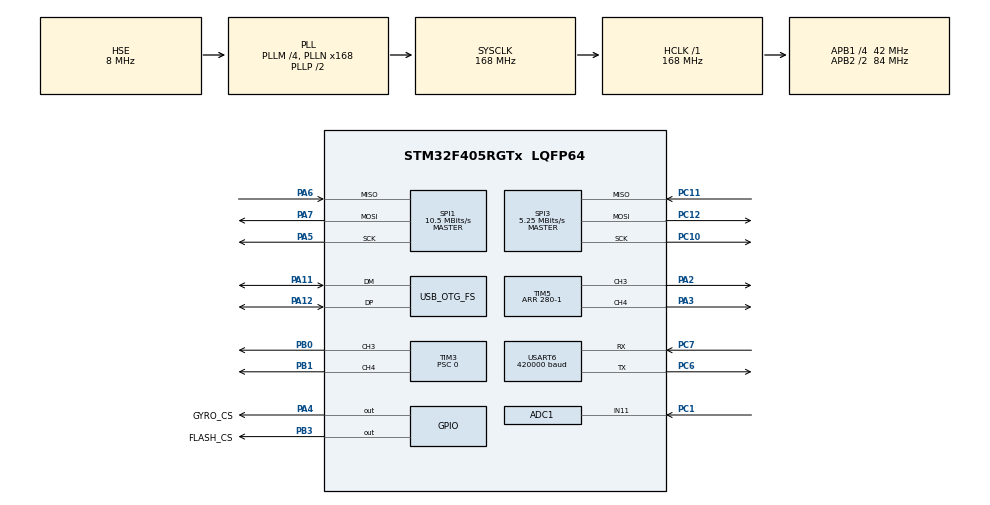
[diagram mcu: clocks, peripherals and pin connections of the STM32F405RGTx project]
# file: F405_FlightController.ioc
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ADC1.Channel-0\#ChannelRegularConversion=ADC_CHANNEL_11
ADC1.ContinuousConvMode=ENABLE
ADC1.NbrOfConversionFlag=1
ADC1.Rank-0\#ChannelRegularConversion=1
ADC1.SamplingTime-0\#ChannelRegularConversion=ADC_SAMPLETIME_3CYCLES
ADC1.master=1
Dma.ADC1.7.Direction=DMA_PERIPH_TO_MEMORY
Dma.ADC1.7.FIFOMode=DMA_FIFOMODE_DISABLE
Dma.ADC1.7.Instance=DMA2_Stream4
Dma.ADC1.7.MemDataAlignment=DMA_MDATAALIGN_HALFWORD
Dma.ADC1.7.MemInc=DMA_MINC_ENABLE
Dma.ADC1.7.Mode=DMA_NORMAL
Dma.ADC1.7.PeriphDataAlignment=DMA_PDATAALIGN_HALFWORD
Dma.ADC1.7.PeriphInc=DMA_PINC_DISABLE
Dma.ADC1.7.Priority=DMA_PRIORITY_MEDIUM
Dma.Request0=SPI1_RX
Dma.Request1=SPI1_TX
Dma.Request2=TIM5_CH3/UP
Dma.Request3=TIM5_CH4/TRIG
Dma.Request4=TIM3_CH4/UP
Dma.Request5=USART6_RX
Dma.Request6=SPI3_TX
Dma.Request7=ADC1
Dma.Request8=TIM3_CH3
Dma.SPI1_RX.0.Direction=DMA_PERIPH_TO_MEMORY
Dma.SPI1_RX.0.FIFOMode=DMA_FIFOMODE_DISABLE
Dma.SPI1_RX.0.Instance=DMA2_Stream0
Dma.SPI1_RX.0.MemDataAlignment=DMA_MDATAALIGN_BYTE
Dma.SPI1_RX.0.MemInc=DMA_MINC_ENABLE
Dma.SPI1_RX.0.Mode=DMA_NORMAL
Dma.SPI1_RX.0.PeriphDataAlignment=DMA_PDATAALIGN_BYTE
Dma.SPI1_RX.0.PeriphInc=DMA_PINC_DISABLE
Dma.SPI1_RX.0.Priority=DMA_PRIORITY_HIGH
Dma.SPI1_TX.1.Direction=DMA_MEMORY_TO_PERIPH
Dma.SPI1_TX.1.FIFOMode=DMA_FIFOMODE_DISABLE
Dma.SPI1_TX.1.Instance=DMA2_Stream3
Dma.SPI1_TX.1.MemDataAlignment=DMA_MDATAALIGN_BYTE
Dma.SPI1_TX.1.MemInc=DMA_MINC_ENABLE
Dma.SPI1_TX.1.Mode=DMA_NORMAL
Dma.SPI1_TX.1.PeriphDataAlignment=DMA_PDATAALIGN_BYTE
Dma.SPI1_TX.1.PeriphInc=DMA_PINC_DISABLE
Dma.SPI1_TX.1.Priority=DMA_PRIORITY_HIGH
Dma.SPI3_TX.6.Direction=DMA_MEMORY_TO_PERIPH
Dma.SPI3_TX.6.FIFOMode=DMA_FIFOMODE_DISABLE
Dma.SPI3_TX.6.Instance=DMA1_Stream5
Dma.SPI3_TX.6.MemDataAlignment=DMA_MDATAALIGN_BYTE
Dma.SPI3_TX.6.MemInc=DMA_MINC_ENABLE
Dma.SPI3_TX.6.Mode=DMA_NORMAL
Dma.SPI3_TX.6.PeriphDataAlignment=DMA_PDATAALIGN_BYTE
Dma.SPI3_TX.6.PeriphInc=DMA_PINC_DISABLE
Dma.SPI3_TX.6.Priority=DMA_PRIORITY_MEDIUM
Dma.TIM3_CH3.8.Direction=DMA_MEMORY_TO_PERIPH
Dma.TIM3_CH3.8.FIFOMode=DMA_FIFOMODE_ENABLE
Dma.TIM3_CH3.8.FIFOThreshold=DMA_FIFO_THRESHOLD_FULL
Dma.TIM3_CH3.8.Instance=DMA1_Stream7
Dma.TIM3_CH3.8.MemBurst=DMA_MBURST_SINGLE
Dma.TIM3_CH3.8.MemDataAlignment=DMA_MDATAALIGN_WORD
Dma.TIM3_CH3.8.MemInc=DMA_MINC_ENABLE
Dma.TIM3_CH3.8.Mode=DMA_CIRCULAR
Dma.TIM3_CH3.8.PeriphBurst=DMA_PBURST_SINGLE
Dma.TIM3_CH3.8.PeriphDataAlignment=DMA_PDATAALIGN_WORD
Dma.TIM3_CH3.8.PeriphInc=DMA_PINC_DISABLE
Dma.TIM3_CH3.8.Priority=DMA_PRIORITY_VERY_HIGH
Dma.TIM3_CH4/UP.4.Direction=DMA_MEMORY_TO_PERIPH
Dma.TIM3_CH4/UP.4.FIFOMode=DMA_FIFOMODE_ENABLE
Dma.TIM3_CH4/UP.4.FIFOThreshold=DMA_FIFO_THRESHOLD_FULL
Dma.TIM3_CH4/UP.4.Instance=DMA1_Stream2
Dma.TIM3_CH4/UP.4.MemBurst=DMA_MBURST_SINGLE
Dma.TIM3_CH4/UP.4.MemDataAlignment=DMA_MDATAALIGN_WORD
Dma.TIM3_CH4/UP.4.MemInc=DMA_MINC_ENABLE
Dma.TIM3_CH4/UP.4.Mode=DMA_CIRCULAR
Dma.TIM3_CH4/UP.4.PeriphBurst=DMA_PBURST_SINGLE
Dma.TIM3_CH4/UP.4.PeriphDataAlignment=DMA_PDATAALIGN_WORD
Dma.TIM3_CH4/UP.4.PeriphInc=DMA_PINC_DISABLE
Dma.TIM3_CH4/UP.4.Priority=DMA_PRIORITY_VERY_HIGH
Dma.TIM5_CH3/UP.2.Direction=DMA_MEMORY_TO_PERIPH
Dma.TIM5_CH3/UP.2.FIFOMode=DMA_FIFOMODE_ENABLE
Dma.TIM5_CH3/UP.2.FIFOThreshold=DMA_FIFO_THRESHOLD_FULL
Dma.TIM5_CH3/UP.2.Instance=DMA1_Stream0
Dma.TIM5_CH3/UP.2.MemBurst=DMA_MBURST_SINGLE
Dma.TIM5_CH3/UP.2.MemDataAlignment=DMA_MDATAALIGN_WORD
Dma.TIM5_CH3/UP.2.MemInc=DMA_MINC_ENABLE
Dma.TIM5_CH3/UP.2.Mode=DMA_CIRCULAR
Dma.TIM5_CH3/UP.2.PeriphBurst=DMA_PBURST_SINGLE
Dma.TIM5_CH3/UP.2.PeriphDataAlignment=DMA_PDATAALIGN_WORD
Dma.TIM5_CH3/UP.2.PeriphInc=DMA_PINC_DISABLE
Dma.TIM5_CH3/UP.2.Priority=DMA_PRIORITY_VERY_HIGH
Dma.TIM5_CH4/TRIG.3.Direction=DMA_MEMORY_TO_PERIPH
Dma.TIM5_CH4/TRIG.3.FIFOMode=DMA_FIFOMODE_ENABLE
Dma.TIM5_CH4/TRIG.3.FIFOThreshold=DMA_FIFO_THRESHOLD_FULL
Dma.TIM5_CH4/TRIG.3.Instance=DMA1_Stream1
Dma.TIM5_CH4/TRIG.3.MemBurst=DMA_MBURST_SINGLE
Dma.TIM5_CH4/TRIG.3.MemDataAlignment=DMA_MDATAALIGN_WORD
Dma.TIM5_CH4/TRIG.3.MemInc=DMA_MINC_ENABLE
Dma.TIM5_CH4/TRIG.3.Mode=DMA_CIRCULAR
Dma.TIM5_CH4/TRIG.3.PeriphBurst=DMA_PBURST_SINGLE
Dma.TIM5_CH4/TRIG.3.PeriphDataAlignment=DMA_PDATAALIGN_WORD
Dma.TIM5_CH4/TRIG.3.PeriphInc=DMA_PINC_DISABLE
Dma.TIM5_CH4/TRIG.3.Priority=DMA_PRIORITY_VERY_HIGH
Dma.USART6_RX.5.Direction=DMA_PERIPH_TO_MEMORY
Dma.USART6_RX.5.FIFOMode=DMA_FIFOMODE_DISABLE
Dma.USART6_RX.5.Instance=DMA2_Stream1
Dma.USART6_RX.5.MemDataAlignment=DMA_MDATAALIGN_BYTE
Dma.USART6_RX.5.MemInc=DMA_MINC_ENABLE
Dma.USART6_RX.5.Mode=DMA_CIRCULAR
Dma.USART6_RX.5.PeriphDataAlignment=DMA_PDATAALIGN_BYTE
Dma.USART6_RX.5.PeriphInc=DMA_PINC_DISABLE
Dma.USART6_RX.5.Priority=DMA_PRIORITY_VERY_HIGH
Mcu.Family=STM32F4
Mcu.Name=STM32F405RGTx
Mcu.Package=LQFP64
NVIC.ADC_IRQn=true\:0\:0\:false\:false\:true\:true\:true\:true
NVIC.DMA1_Stream0_IRQn=true\:6\:0\:true\:false\:true\:false\:true\:true
NVIC.DMA1_Stream1_IRQn=true\:6\:0\:true\:false\:true\:false\:true\:true
NVIC.DMA1_Stream2_IRQn=true\:6\:0\:true\:false\:true\:false\:true\:true
NVIC.DMA1_Stream5_IRQn=true\:0\:0\:true\:false\:true\:false\:true\:true
NVIC.DMA1_Stream7_IRQn=true\:6\:0\:true\:false\:true\:false\:true\:true
NVIC.DMA2_Stream0_IRQn=true\:6\:0\:true\:false\:true\:false\:true\:true
NVIC.DMA2_Stream1_IRQn=true\:0\:0\:false\:false\:true\:false\:true\:true
NVIC.DMA2_Stream3_IRQn=true\:6\:0\:true\:false\:true\:false\:true\:true
NVIC.DMA2_Stream4_IRQn=true\:0\:0\:false\:false\:true\:false\:true\:true
NVIC.OTG_FS_IRQn=true\:0\:0\:false\:false\:true\:false\:true\:true
NVIC.PriorityGroup=NVIC_PRIORITYGROUP_4
NVIC.SPI1_IRQn=true\:6\:0\:true\:false\:true\:true\:true\:true
NVIC.SPI3_IRQn=true\:8\:0\:true\:false\:true\:true\:true\:true
NVIC.TIM2_IRQn=true\:10\:0\:true\:false\:true\:true\:true\:true
NVIC.TIM4_IRQn=true\:0\:0\:true\:false\:true\:true\:true\:true
NVIC.USART6_IRQn=true\:5\:0\:true\:false\:true\:true\:true\:true
PA11.Mode=Device_Only
PA11.Signal=USB_OTG_FS_DM
PA12.Mode=Device_Only
PA12.Signal=USB_OTG_FS_DP
PA2.Signal=S_TIM5_CH3
PA3.Signal=S_TIM5_CH4
PA4.GPIO_Label=GYRO_CS
PA4.GPIO_Speed=GPIO_SPEED_FREQ_HIGH
PA4.PinState=GPIO_PIN_SET
PA4.Signal=GPIO_Output
PA5.Mode=Full_Duplex_Master
PA5.Signal=SPI1_SCK
PA6.Mode=Full_Duplex_Master
PA6.Signal=SPI1_MISO
PA7.Mode=Full_Duplex_Master
PA7.Signal=SPI1_MOSI
PB0.Signal=S_TIM3_CH3
PB1.Signal=S_TIM3_CH4
PB3.GPIO_Label=FLASH_CS
PB3.GPIO_Speed=GPIO_SPEED_FREQ_HIGH
PB3.PinState=GPIO_PIN_SET
PB3.Signal=GPIO_Output
PC1.Signal=ADCx_IN11
PC10.Mode=Full_Duplex_Master
PC10.Signal=SPI3_SCK
PC11.Mode=Full_Duplex_Master
PC11.Signal=SPI3_MISO
PC12.Mode=Full_Duplex_Master
PC12.Signal=SPI3_MOSI
PC6.Mode=Asynchronous
PC6.Signal=USART6_TX
PC7.Mode=Asynchronous
PC7.Signal=USART6_RX
PH0-OSC_IN.Mode=HSE-External-Oscillator
PH0-OSC_IN.Signal=RCC_OSC_IN
PH1-OSC_OUT.Mode=HSE-External-Oscillator
PH1-OSC_OUT.Signal=RCC_OSC_OUT
ProjectManager.HeapSize=0x200
ProjectManager.StackSize=0x400
ProjectManager.TargetToolchain=STM32CubeIDE
RCC.48MHZClocksFreq_Value=48000000
RCC.AHBFreq_Value=168000000
RCC.APB1CLKDivider=RCC_HCLK_DIV4
RCC.APB1Freq_Value=42000000
RCC.APB1TimFreq_Value=84000000
RCC.APB2CLKDivider=RCC_HCLK_DIV2
RCC.APB2Freq_Value=84000000
RCC.APB2TimFreq_Value=168000000
RCC.CortexFreq_Value=168000000
RCC.HCLKFreq_Value=168000000
RCC.HSE_VALUE=8000000
RCC.HSI_VALUE=16000000
RCC.LSE_VALUE=32768
RCC.PLLM=4
RCC.PLLN=168
RCC.PLLQ=7
RCC.SYSCLKFreq_VALUE=168000000
RCC.SYSCLKSource=RCC_SYSCLKSOURCE_PLLCLK
RCC.VCOOutputFreq_Value=336000000
SH.ADCx_IN11.0=ADC1_IN11,IN11
SH.S_TIM3_CH3.0=TIM3_CH3,PWM Generation3 CH3
SH.S_TIM3_CH4.0=TIM3_CH4,PWM Generation4 CH4
SH.S_TIM5_CH3.0=TIM5_CH3,PWM Generation3 CH3
SH.S_TIM5_CH4.0=TIM5_CH4,PWM Generation4 CH4
SPI1.BaudRatePrescaler=SPI_BAUDRATEPRESCALER_8
SPI1.CalculateBaudRate=10.5 MBits/s
SPI1.Direction=SPI_DIRECTION_2LINES
SPI1.Mode=SPI_MODE_MASTER
SPI1.VirtualType=VM_MASTER
SPI3.BaudRatePrescaler=SPI_BAUDRATEPRESCALER_8
SPI3.CalculateBaudRate=5.25 MBits/s
SPI3.Direction=SPI_DIRECTION_2LINES
SPI3.Mode=SPI_MODE_MASTER
SPI3.VirtualType=VM_MASTER
TIM2.Period=1000-1
TIM2.Prescaler=84-1
TIM3.Channel-PWM\ Generation3\ CH3=TIM_CHANNEL_3
TIM3.Channel-PWM\ Generation4\ CH4=TIM_CHANNEL_4
TIM3.OCFastMode_PWM-PWM\ Generation3\ CH3=TIM_OCFAST_ENABLE
TIM3.OCFastMode_PWM-PWM\ Generation4\ CH4=TIM_OCFAST_ENABLE
TIM3.Period=279
TIM3.Prescaler=0
TIM3.Pulse-PWM\ Generation3\ CH3=105
TIM3.Pulse-PWM\ Generation4\ CH4=105
TIM4.Period=0xFFFF
TIM4.Prescaler=83
TIM5.Channel-PWM\ Generation3\ CH3=TIM_CHANNEL_3
TIM5.Channel-PWM\ Generation4\ CH4=TIM_CHANNEL_4
TIM5.OCFastMode_PWM-PWM\ Generation3\ CH3=TIM_OCFAST_ENABLE
TIM5.OCFastMode_PWM-PWM\ Generation4\ CH4=TIM_OCFAST_ENABLE
TIM5.Period=280-1
TIM5.Pulse-PWM\ Generation3\ CH3=105
TIM5.Pulse-PWM\ Generation4\ CH4=105
USART6.BaudRate=420000
USART6.OverSampling=UART_OVERSAMPLING_8
USART6.VirtualMode=VM_ASYNC
USB_DEVICE.CLASS_NAME_FS=CDC
USB_DEVICE.VirtualMode-CDC_FS=Cdc
USB_DEVICE.VirtualModeFS=Cdc_FS
USB_OTG_FS.VirtualMode=Device_Only
VP_TIM2_VS_ClockSourceINT.Mode=Internal
VP_TIM3_VS_ClockSourceINT.Mode=Internal
VP_TIM4_VS_ClockSourceINT.Mode=Internal
VP_TIM5_VS_ClockSourceINT.Mode=Internal
VP_USB_DEVICE_VS_USB_DEVICE_CDC_FS.Mode=CDC_FS
board=custom

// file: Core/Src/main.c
/* USER CODE BEGIN Header */
/**
  ******************************************************************************
  * @file           : main.c
  * @brief          : Main program body
  ******************************************************************************
  * @attention
  *
  * Copyright (c) 2025 STMicroelectronics.
  * All rights reserved.
  *
  * This software is licensed under terms that can be found in the LICENSE file
  * in the root directory of this software component.
  * If no LICENSE file comes with this software, it is provided AS-IS.
  *
  ******************************************************************************
  */
/* USER CODE END Header */
#include "main.h"
#include "adc.h"
#include "dma.h"
#include "spi.h"
#include "tim.h"
#include "usart.h"
#include "usb_device.h"
#include "gpio.h"

/* USER CODE BEGIN Includes */
#include "mpu6000.h"
#include "filter.h"
#include "pid.h"
#include "dshot.h"
#include "CRsF.h"
#include <string.h>
#include <math.h>
#include "stm32f4xx.h"
#include <stdbool.h>
#include <timer_logging.h>
#include "usbd_cdc_if.h"
#include "w25q256.h"
#include "blackbox.h"
#include "timer_logging.h"
#include "ekf.h"

/* USER CODE END Includes */

/* USER CODE BEGIN PD */
#define EKF_MODE 	0
#define COMP_MODE	1
#define SENSOR_FUSION_MODE	EKF_MODE

#define PID_KP_PITCH_INNER		1.2f
#define PID_KD_PITCH_INNER		0.4f
#define PID_KI_PITCH_INNER		1.0f

#define PID_KP_PITCH_OUTER		3.0f
#define PID_KD_PITCH_OUTER		1.0f
#define PID_KI_PITCH_OUTER		0.8f

#define PID_KP_ROLL_INNER		1.2f
#define PID_KD_ROLL_INNER		0.4f
#define PID_KI_ROLL_INNER		1.0f

#define PID_KP_ROLL_OUTER		2.0f
#define PID_KD_ROLL_OUTER		1.0f
#define PID_KI_ROLL_OUTER		0.8f

#define PID_KP_YAW				3.0f
#define PID_KD_YAW				0.0f
#define PID_KI_YAW				0.0f

#define PID_KP_YAW_RATE			3.0f
#define PID_KD_YAW_RATE			0.0f
#define PID_KI_YAW_RATE			0.0f
/* USER CODE END PD */

/* USER CODE BEGIN PV */
extern UART_HandleTypeDef huart6;
extern DMA_HandleTypeDef hdma_usart6_rx;

float dt = 0.001f;
float dt_ekf;
float acc_x = 0.0f;
float acc_y = 0.0f;
float acc_z = 0.0f;
float gyro_p = 0.0f;
float gyro_q = 0.0f;
float gyro_r = 0.0f;

float gyro_p_ekf = 0.0f;
float gyro_q_ekf = 0.0f;
float gyro_r_ekf = 0.0f;

float pitch_target = 0.0f;
float roll_target = 0.0f;
float yaw_target = 0.0f;

float pitch,roll,yaw,yawHat_acc_rad;
float roll_rad, pitch_rad, yaw_rad;
float roll_rad_ekf;
float pitch_rad_ekf;
float pitch_ekf;
float roll_ekf;

Double_PID_Controller PID_Controller_Roll, PID_Controller_Pitch;
PID_Controller PID_Controller_Yaw, PID_Controller_Yaw_Rate;
uint16_t throttle = 1000;

MPU6000 mpu;
float rollHat_acc_rad;
float pitchHat_acc_rad;
IIR_Filter_3D acc_filtered;
IIR_Filter_3D gyro_filtered_ekf;
IIR_Filter_3D gyro_filtered_comp;
uint32_t DShot_MemoryBufferMotor1[MEM_BUFFER_LENGTH] = {0};
uint32_t DShot_DMABufferMotor1[DMA_BUFFER_LENGTH] = {0};
uint32_t DShot_MemoryBufferMotor2[MEM_BUFFER_LENGTH] = {0};
uint32_t DShot_DMABufferMotor2[DMA_BUFFER_LENGTH] = {0};
uint32_t DShot_MemoryBufferMotor3[MEM_BUFFER_LENGTH] = {0};
uint32_t DShot_DMABufferMotor3[DMA_BUFFER_LENGTH] = {0};
uint32_t DShot_MemoryBufferMotor4[MEM_BUFFER_LENGTH] = {0};
uint32_t DShot_DMABufferMotor4[DMA_BUFFER_LENGTH] = {0};

float roll_out;
float pitch_out;
float yaw_out;

float m1 = 0;
float m2 = 0;
float m3 = 0;
float m4 = 0;

uint8_t uart_rx_buffer[64];
CrsF_Frame receive_frame;
volatile bool uart_ready = false;

float ScaledControllerOutput[5];
#define CRSF_DMA_BUF_SIZE 128
uint8_t crsf_dma_buf[CRSF_DMA_BUF_SIZE];
uint16_t old_pos = 0;

float  yaw_heading_reference = 0;
uint32_t global_counter = 0;

bool PID_outer_loop_activation_flag;

volatile SystemState_t drone_system_state = SYSTEM_STATE_FLY_MODE;
/* USB communication variables */
char  USB_TX_Buffer[128];
char USB_RX_Buffer [64];

/*Flash communication variable */
uint32_t id;
uint8_t status;
volatile bool flash_write_done_flag = true;
volatile flash_packet blackbox_packet[8];
volatile uint8_t blackbox_packet_index = 0;
volatile bool blackbox_packet_ready_flag = false;
uint8_t flash_buffer_rx[256];
uint16_t page_number = 0;

/*Battery level oitoring varilables */
float battery_voltage;
uint16_t battery_voltage_raw;
bool adc_battery_done_flag = true;

/*Logging variables*/
volatile uint32_t timer_overflow = 0;
/* USER CODE END PV */

void SystemClock_Config(void);
/* USER CODE BEGIN PFP */

// Hàm call back gọi MPU mỗi 1ms
void HAL_TIM_PeriodElapsedCallback(TIM_HandleTypeDef *htim)
{
    if (htim->Instance == TIM2) {
        if (mpu.state == 0) {
            mpu.state = 1; // request new transfer
            MPU6000_Start_DMA(&mpu);
        }
        if (adc_battery_done_flag == true){
        	adc_battery_done_flag = false;
        	HAL_ADC_Start_DMA(&hadc1, (uint32_t*)&battery_voltage_raw, 1);
        }
    }
    if (htim->Instance == TIM4){
    	timer_overflow++;
    }
}

void HAL_ADC_ConvCpltCallback(ADC_HandleTypeDef* hadc)
{
    if (hadc->Instance == ADC1) {
        adc_battery_done_flag = true;

        float vref = 3.3f;
        float divider = (10.0f + 1.0f) / 1.0f; // 10k/1k
        float adc_raw = battery_voltage_raw;
        battery_voltage = (adc_raw / 4095.0f) * vref * divider * 0.99386f;
    }
}
void HAL_SPI_TxRxCpltCallback(SPI_HandleTypeDef *hspi)
{
    if (hspi->Instance == SPI1) {
        HAL_GPIO_WritePin(MPU6000_CS_PORT, MPU6000_CS_PIN, GPIO_PIN_SET);
        mpu.state = 2; // DMA finished
        mpu.spi_transfer_done = true;
    }
}
//void HAL_SPI_TxCpltCallback(SPI_HandleTypeDef *hspi)
//{
//    if (hspi->Instance == SPI3) {
//        csHigh();
//        flash_write_done_flag = true;
//    }
//}

//Hàm call back gửi DSHOT cho động cơ
void HAL_TIM_PWM_PulseFinishedHalfCpltCallback(TIM_HandleTypeDef *htim)
{
    if (htim->Instance == TIM5)
    {
        if (htim->Channel == HAL_TIM_ACTIVE_CHANNEL_3)
        {
            memcpy(DShot_DMABufferMotor2, DShot_MemoryBufferMotor2,
                   MEM_BUFFER_LENGTH * sizeof(DShot_DMABufferMotor2[0]));
        }
        else if (htim->Channel == HAL_TIM_ACTIVE_CHANNEL_4)
        {
            memcpy(DShot_DMABufferMotor3, DShot_MemoryBufferMotor3,
                   MEM_BUFFER_LENGTH * sizeof(DShot_DMABufferMotor3[0]));
        }
    }

    else if (htim->Instance == TIM3){
        if (htim->Channel == HAL_TIM_ACTIVE_CHANNEL_4)
        {
            memcpy(DShot_DMABufferMotor1, DShot_MemoryBufferMotor1,
                   MEM_BUFFER_LENGTH * sizeof(DShot_DMABufferMotor1[0]));
        }
        else if (htim->Channel == HAL_TIM_ACTIVE_CHANNEL_3)
        {
            memcpy(DShot_DMABufferMotor4, DShot_MemoryBufferMotor4,
                   MEM_BUFFER_LENGTH * sizeof(DShot_DMABufferMotor4[0]));
        }
    }
}

static inline float constrain(float value, float min_val, float max_val)
{
    if (value < min_val) return min_val;
    else if (value > max_val) return max_val;
    else return value;
}

/* USER CODE END PFP */

/* USER CODE BEGIN 0 */
float get_pitch(float Ax, float Ay, float Az) {
    return atan2f(Ay, sqrtf(Ax * Ax + Az * Az)) * 180.0f / M_PI;
}

float get_roll(float Ax, float Az) {
    return atan2f(-Ax, Az) * 180.0f / M_PI;
}

void init_PIDs(void)
{
//    PID_Init(&pid_roll,  1.5f, 0.0f, 0.05f, 400.0f, 100.0f);
//    PID_Init(&pid_pitch, 1.5f, 0.0f, 0.05f, 400.0f, 100.0f);
//    PID_Init(&pid_yaw,   2.0f, 0.0f, 0.10f, 400.0f, 100.0f);
	PID_Init(&PID_Controller_Pitch.inner_loop, PID_KP_PITCH_INNER, PID_KI_PITCH_INNER, PID_KD_PITCH_INNER, 200.0f, 100.0f);
	PID_Init(&PID_Controller_Roll.inner_loop, PID_KP_ROLL_INNER, PID_KI_ROLL_INNER, PID_KD_ROLL_INNER, 200.0f, 100.0f);
	PID_Init(&PID_Controller_Yaw, PID_KP_YAW, PID_KI_YAW, PID_KD_YAW, 400.0f, 100.0f);

	PID_Init(&PID_Controller_Pitch.outer_loop, PID_KP_PITCH_OUTER, PID_KI_PITCH_OUTER, PID_KD_PITCH_OUTER, 200.0f, 50.0f);
	PID_Init(&PID_Controller_Roll.outer_loop, PID_KP_ROLL_OUTER, PID_KI_ROLL_OUTER, PID_KD_ROLL_OUTER, 200.0f, 50.0f);
	PID_Init(&PID_Controller_Yaw_Rate, PID_KP_YAW_RATE, PID_KI_YAW_RATE, PID_KD_YAW_RATE, 200.0f, 50.0f);

}

void CRSF_IdleHandler(void) {
    uint16_t dma_remaining = __HAL_DMA_GET_COUNTER(&hdma_usart6_rx);
    uint16_t new_pos = CRSF_DMA_BUF_SIZE - dma_remaining;

    if(new_pos >= old_pos) {
        for(uint16_t i = old_pos; i < new_pos; i++) {
            if(Check_Status(crsf_dma_buf[i], &receive_frame)) {
                CRsF_Process(&receive_frame);
            }
        }
    } else {
        for(uint16_t i = old_pos; i < CRSF_DMA_BUF_SIZE; i++) {
            if(Check_Status(crsf_dma_buf[i], &receive_frame)) {
                CRsF_Process(&receive_frame);
            }
        }
        for(uint16_t i = 0; i < new_pos; i++) {
            if(Check_Status(crsf_dma_buf[i], &receive_frame)) {
                CRsF_Process(&receive_frame);
            }
        }
    }

    old_pos = new_pos;
}
float rollDot;
float pitchDot;
uint32_t t;
uint32_t t_prev;

EKF_t ekf;
/* USER CODE END 0 */

int main(void)
{

  /* MCU Configuration--------------------------------------------------------*/

  /* Reset of all peripherals, Initializes the Flash interface and the Systick. */
  HAL_Init();

  /* Configure the system clock */
  SystemClock_Config();

  /* Initialize all configured peripherals */
  MX_GPIO_Init();
  MX_DMA_Init();
  MX_SPI1_Init();
  MX_TIM2_Init();
  MX_TIM3_Init();
  MX_TIM5_Init();
  MX_USART6_UART_Init();
  MX_USB_DEVICE_Init();
  MX_SPI3_Init();
  MX_ADC1_Init();
  MX_TIM4_Init();
  /* USER CODE BEGIN 2 */
  //IIR_Filter_3D_Init(&acc_filtered, IIR_ACC_ALPHA, IIR_ACC_BETA);
  IIR_Filter_3D_Init(&gyro_filtered_comp, IIR_GYR_ALPHA, IIR_GYR_BETA);
  IIR_Filter_3D_Init(&gyro_filtered_ekf, IIR_GYR_ALPHA, IIR_GYR_BETA);

  MPU6000_Init(&mpu, &hspi1);

  mpu.state=0;
  for(int i=0;i<=14;i++) mpu.tx_buffer[i]=0xFF;
  init_PIDs();
  MPU6000_Calibrate(&mpu);

  //Fills arrays in
  Dshot_DMABuffer_init(DShot_DMABufferMotor1);
  Dshot_DMABuffer_init(DShot_DMABufferMotor2);
  Dshot_DMABuffer_init(DShot_DMABufferMotor3);
  Dshot_DMABuffer_init(DShot_DMABufferMotor4);
  Dshot_MemoryBuffer_init(DShot_MemoryBufferMotor1);
  Dshot_MemoryBuffer_init(DShot_MemoryBufferMotor2);
  Dshot_MemoryBuffer_init(DShot_MemoryBufferMotor3);
  Dshot_MemoryBuffer_init(DShot_MemoryBufferMotor4);
  Dshot_Calibrate(DShot_DMABufferMotor1);
  Dshot_Calibrate(DShot_DMABufferMotor2);
  Dshot_Calibrate(DShot_DMABufferMotor3);
  Dshot_Calibrate(DShot_DMABufferMotor4);

  //HAL_TIM_PWM_Start_DMA(&htim5, TIM_CHANNEL_1, DShot_DMABufferMotor1, DMA_BUFFER_LENGTH);
  HAL_TIM_PWM_Start_DMA(&htim5, TIM_CHANNEL_4, DShot_DMABufferMotor1, DMA_BUFFER_LENGTH);
  HAL_TIM_PWM_Start_DMA(&htim3, TIM_CHANNEL_3, DShot_DMABufferMotor2, DMA_BUFFER_LENGTH);
  HAL_TIM_PWM_Start_DMA(&htim3, TIM_CHANNEL_4, DShot_DMABufferMotor3, DMA_BUFFER_LENGTH);
  HAL_TIM_PWM_Start_DMA(&htim5, TIM_CHANNEL_3, DShot_DMABufferMotor4, DMA_BUFFER_LENGTH);

  Dshot_PrepareFrame(0, DShot_MemoryBufferMotor1);
  Dshot_PrepareFrame(0, DShot_MemoryBufferMotor2);
  Dshot_PrepareFrame(0, DShot_MemoryBufferMotor3);
  Dshot_PrepareFrame(0, DShot_MemoryBufferMotor4);

  HAL_Delay(3000);

  HAL_UART_Receive_DMA(&huart6, crsf_dma_buf, CRSF_DMA_BUF_SIZE);
  __HAL_UART_ENABLE_IT(&huart6, UART_IT_IDLE);  // enable IDLE interrupt
  HAL_TIM_Base_Start_IT(&htim2);

  HAL_GPIO_WritePin(FLASH_CS_PORT, FLASH_CS_PIN, GPIO_PIN_SET);
  HAL_ADC_Start_DMA(&hadc1, (uint32_t*)&battery_voltage_raw, 1);
//  W25Q_Reset();
//  flash_write_done_flag = false;
//
//  Blackbox_EraseAll();
//  W25Q_Read(BLACKBOX_START_ADDR, 256, flash_buffer_rx);
//  for (int i = blackbox_packet_index; i < 8; i++) {
//      blackbox_packet[i].timestamp = 0;
//      blackbox_packet[i].battery_voltage = 0;
//      blackbox_packet[i].roll_target = 0;
//      blackbox_packet[i].pitch_target = 0;
//      blackbox_packet[i].yaw_target = 0;
//      blackbox_packet[i].roll = 0;
//      blackbox_packet[i].pitch = 0;
//      blackbox_packet[i].yaw = 0;
//  }
//  id = W25Q_ReadID();
  HAL_TIM_Base_Start_IT(&htim4);
  EKF_Init(&ekf, mpu.gyro_offset[0], mpu.gyro_offset[1]);
  t_prev = micros();

  /* USER CODE END 2 */

  /* Infinite loop */
  /* USER CODE BEGIN WHILE */
  while (1)
  {
	  if (drone_system_state == SYSTEM_STATE_FLY_MODE){
		  if (ScaledControllerOutput[CH_ARM] < 1500){
			  Dshot_PrepareFrame(0, DShot_MemoryBufferMotor1);
			  Dshot_PrepareFrame(0, DShot_MemoryBufferMotor2);
			  Dshot_PrepareFrame(0, DShot_MemoryBufferMotor3);
			  Dshot_PrepareFrame(0, DShot_MemoryBufferMotor4);
			  PID_Controller_Pitch.inner_loop.error_sum = 0;
			  PID_Controller_Pitch.outer_loop.error_sum = 0;
			  PID_Controller_Roll.inner_loop.error_sum = 0;
			  PID_Controller_Roll.outer_loop.error_sum = 0;
			  PID_Controller_Yaw_Rate.error_sum = 0;
			  PID_Controller_Yaw.error_sum = 0;

		  }
		  else{
			  //0 <= m1, m2, m3, m4 <= 1999
			  Dshot_PrepareFrame(m1, DShot_MemoryBufferMotor1);
			  Dshot_PrepareFrame(m2, DShot_MemoryBufferMotor2);
			  Dshot_PrepareFrame(m3, DShot_MemoryBufferMotor3);
			  Dshot_PrepareFrame(m4, DShot_MemoryBufferMotor4);
		  }

		  if (mpu.state==2){
			  MPU6000_Process_DMA(&mpu);
			  mpu.state = 0;
			  #if SENSOR_FUSION_MODE ==  EKF_MODE
			  //EKF filter
			  // IIR_Filter_3D_Update(&acc_filtered, mpu.acc[0], mpu.acc[1], mpu.acc[2], &acc_x, &acc_y, &acc_z);
			  acc_x = mpu.acc[0];
			  acc_y = mpu.acc[1];
			  acc_z = mpu.acc[2];
			  mpu.gyro[0] += mpu.gyro_offset[0];
			  mpu.gyro[1] += mpu.gyro_offset[1];

			  IIR_Filter_3D_Update(&gyro_filtered_ekf, mpu.gyro[0], mpu.gyro[1], mpu.gyro[2], &gyro_p, &gyro_q, &gyro_r);

			  float gyro_rad_s[3];
			  gyro_rad_s[0] = gyro_p * M_PI / 180.0f;
			  gyro_rad_s[1] = gyro_q * M_PI / 180.0f;
			  gyro_rad_s[2] = gyro_r * M_PI / 180.0f;

			  float acc_m_s2[3];
			  acc_m_s2[0] = acc_x * 9.81f;
			  acc_m_s2[1] = acc_y * 9.81f;
			  acc_m_s2[2] = acc_z * 9.81f;
			  float yawDot = gyro_r;
			  t = micros();
			  dt = (t - t_prev) / 1000000.0f;

			  EKF_Predict(&ekf, gyro_rad_s, dt);
			  EKF_UpdateAccel(&ekf, acc_m_s2);

			  t_prev = t;
			  quad_to_euler(&ekf, &roll_rad_ekf, &pitch_rad);

			  roll = roll_rad_ekf * (180.0f / M_PI);
			  pitch = pitch_rad * (180.0f / M_PI);
			  yaw = yaw + yawDot * dt;
			  while (yaw>= 360.0f) yaw -= 360.0f;
			  while (yaw < 0.0f)         yaw += 360.0f;

			  #else
			  IIR_Filter_3D_Update(&gyro_filtered_comp, mpu.gyro[0], mpu.gyro[1], mpu.gyro[2], &gyro_p, &gyro_q, &gyro_r);
			  /*Estimate pitch and roll*/
			  rollHat_acc_rad = atan2f(acc_y, acc_z);
			  pitchHat_acc_rad = atan2f(-acc_x, sqrtf(acc_y * acc_y + acc_z * acc_z));
			  float rollDot_rad = (gyro_p * (M_PI / 180.0f) + tanf(pitchHat_acc_rad) * sinf(rollHat_acc_rad) * gyro_q * (M_PI / 180.0f) + tanf(pitchHat_acc_rad) * cosf(rollHat_acc_rad) * gyro_r * (M_PI / 180.0f));
			  float pitchDot_rad = (cosf(rollHat_acc_rad) * gyro_q * (M_PI / 180.0f) - sinf(rollHat_acc_rad) * gyro_r * (M_PI / 180.0f));
			  t = micros();
			  dt = (t - t_prev) / 1000000.0f;
			  //Complementary filter
			  roll_rad = (1.0f - COMP_ALPHA) * rollHat_acc_rad + COMP_ALPHA * (roll_rad + rollDot_rad * dt );
			  pitch_rad = (1.0f - COMP_ALPHA) * pitchHat_acc_rad + COMP_ALPHA * (pitch_rad + pitchDot_rad * dt );
			  float yawDot = gyro_r;

			  rollDot = rollDot_rad * (180.0f / M_PI);
			  pitchDot = pitchDot_rad * (180.0f / M_PI);
			  roll = roll_rad * (180.0f / M_PI);
			  pitch = pitch_rad * (180.0f / M_PI);
			  yaw = yaw + yawDot * dt;
			  while (yaw>= 360.0f) yaw -= 360.0f;
			  while (yaw < 0.0f)         yaw += 360.0f;
			  #endif

//			  global_counter++;
////			  PID_outer_loop_activation_flag = (global_counter % 4 == 0);
			  PID_outer_loop_activation_flag = true;

			  float roll_target = (ScaledControllerOutput[CH_ROLL]- 1500.0f) * 0.08f;
			  float pitch_target = (ScaledControllerOutput[CH_PITCH]- 1500.0f) * -0.08f;
			  roll_out = PID_Double_Calculation(&PID_Controller_Roll, roll_target, roll, rollDot, dt);
			  pitch_out = PID_Double_Calculation(&PID_Controller_Pitch, pitch_target, pitch, pitchDot, dt);

			  if (ScaledControllerOutput[CH_YAW] < 1485 || ScaledControllerOutput[CH_YAW] > 1515){
				  yaw_heading_reference = yaw;
				  yaw_out = PID_Yaw_Rate_Calculation(&PID_Controller_Yaw_Rate, (ScaledControllerOutput[CH_YAW] - 1500.0f) * 0.08f , yawDot, dt);
			  }
			  else{
				  yaw_out = PID_Yaw_Angle_Calculation(&PID_Controller_Yaw, yaw_heading_reference , yaw, yawDot, dt);
			  }

			  // Clamp PID outputs to safe range
		//		  const float max_correction = 400.0f;  // adjust based on tuning
		//		  roll_out  = constrain(roll_out,  -max_correction, max_correction);
		//		  pitch_out = constrain(pitch_out, -max_correction, max_correction);
		//		  yaw_out   = constrain(yaw_out,   -max_correction, max_correction);

			  // Motor mix
			  m1 = 50 + ScaledControllerOutput[CH_THROTTLE] - pitch_out - roll_out + yaw_out;
			  m2 = 50 + ScaledControllerOutput[CH_THROTTLE] + pitch_out - roll_out - yaw_out;
			  m3 = 50 + ScaledControllerOutput[CH_THROTTLE] - pitch_out + roll_out - yaw_out;
			  m4 = 50 + ScaledControllerOutput[CH_THROTTLE] + pitch_out + roll_out + yaw_out;

			  // Clamp final motor values
			  m1 = constrain(m1, 0, 1999);
			  m2 = constrain(m2, 0, 1999);
			  m3 = constrain(m3, 0, 1999);
			  m4 = constrain(m4, 0, 1999);

//			  blackbox_packet[blackbox_packet_index].battery_voltage = battery_voltage;
//			  blackbox_packet[blackbox_packet_index].pitch = pitch;
//			  blackbox_packet[blackbox_packet_index].pitch_target = pitch_target;
//			  blackbox_packet[blackbox_packet_index].roll = roll;
//			  blackbox_packet[blackbox_packet_index].roll_target = roll_target;
//			  blackbox_packet[blackbox_packet_index].timestamp = HAL_GetTick();
//			  blackbox_packet[blackbox_packet_index].yaw = yaw;
//			  blackbox_packet[blackbox_packet_index].yaw_target = yaw_target;
//
//			  blackbox_packet_index++;
//			  if (blackbox_packet_index >= 8) {
//				  blackbox_packet_ready_flag = true;
//				  blackbox_packet_index = 0;
//			  }
//			  t = micros();
//			  static uint32_t log_div;
//			  if (++log_div >= 20) {
//			      log_div = 0;
//				  sprintf(USB_TX_Buffer,"%.3f, %.3f, %.3f, %.3f\r\n",
//						  roll_ekf,
//						  roll,
//						  pitch_ekf,
//						  pitch
//						  );
//				  CDC_Transmit_FS((uint8_t*)USB_TX_Buffer, strlen(USB_TX_Buffer));
//			  }

		  }
//		  if (blackbox_packet_ready_flag && page_number < 8192){
//	//			  flash_write_done_flag = false;
//			  blackbox_packet_ready_flag = false;
//			  W25Q_PageProgram(BLACKBOX_START_ADDR + page_number*256, (uint8_t *)blackbox_packet);
//				W25Q_Read(BLACKBOX_START_ADDR + page_number*256, 256, flash_buffer_rx);
//			  page_number ++;
//		  }
	  }
//	  else if (drone_system_state == SYSTEM_STATE_DUMP_DATA_MODE) {
//	      for (int i = 0; i < 8192; i++) {
//	          uint32_t addr = BLACKBOX_START_ADDR + i*256;
//	          W25Q_Read(addr, 256, flash_buffer_rx);
//	          // Check if this page is all 0xFF (erased)
//	          bool empty = true;
//	          for (int j = 0; j < 256; j++) {
//	              if (flash_buffer_rx[j] != 0xFF) {
//	                  empty = false;
//	                  break;
//	              }
//	          }
//
//	          if (empty) {
//	              break; // stop printing, reached unwritten region
//	          }
//
//	          CDC_Transmit_FS(flash_buffer_rx, sizeof(flash_buffer_rx));
//	          while (CDC_Transmit_FS(flash_buffer_rx, 256) == USBD_BUSY);
//	      }
//	      while (1);
//	  }
    /* USER CODE END WHILE */

  }
}

void SystemClock_Config(void)
{
  RCC_OscInitTypeDef RCC_OscInitStruct = {0};
  RCC_ClkInitTypeDef RCC_ClkInitStruct = {0};

  /** Configure the main internal regulator output voltage
  */
  __HAL_RCC_PWR_CLK_ENABLE();
  __HAL_PWR_VOLTAGESCALING_CONFIG(PWR_REGULATOR_VOLTAGE_SCALE1);

  /** Initializes the RCC Oscillators according to the specified parameters
  * in the RCC_OscInitTypeDef structure.
  */
  RCC_OscInitStruct.OscillatorType = RCC_OSCILLATORTYPE_HSE;
  RCC_OscInitStruct.HSEState = RCC_HSE_ON;
  RCC_OscInitStruct.PLL.PLLState = RCC_PLL_ON;
  RCC_OscInitStruct.PLL.PLLSource = RCC_PLLSOURCE_HSE;
  RCC_OscInitStruct.PLL.PLLM = 4;
  RCC_OscInitStruct.PLL.PLLN = 168;
  RCC_OscInitStruct.PLL.PLLP = RCC_PLLP_DIV2;
  RCC_OscInitStruct.PLL.PLLQ = 7;
  if (HAL_RCC_OscConfig(&RCC_OscInitStruct) != HAL_OK)
  {
    Error_Handler();
  }

  /** Initializes the CPU, AHB and APB buses clocks
  */
  RCC_ClkInitStruct.ClockType = RCC_CLOCKTYPE_HCLK|RCC_CLOCKTYPE_SYSCLK
                              |RCC_CLOCKTYPE_PCLK1|RCC_CLOCKTYPE_PCLK2;
  RCC_ClkInitStruct.SYSCLKSource = RCC_SYSCLKSOURCE_PLLCLK;
  RCC_ClkInitStruct.AHBCLKDivider = RCC_SYSCLK_DIV1;
  RCC_ClkInitStruct.APB1CLKDivider = RCC_HCLK_DIV4;
  RCC_ClkInitStruct.APB2CLKDivider = RCC_HCLK_DIV2;

  if (HAL_RCC_ClockConfig(&RCC_ClkInitStruct, FLASH_LATENCY_5) != HAL_OK)
  {
    Error_Handler();
  }
}

void Error_Handler(void)
{
  __disable_irq();
  while (1)
  {
  }
}
